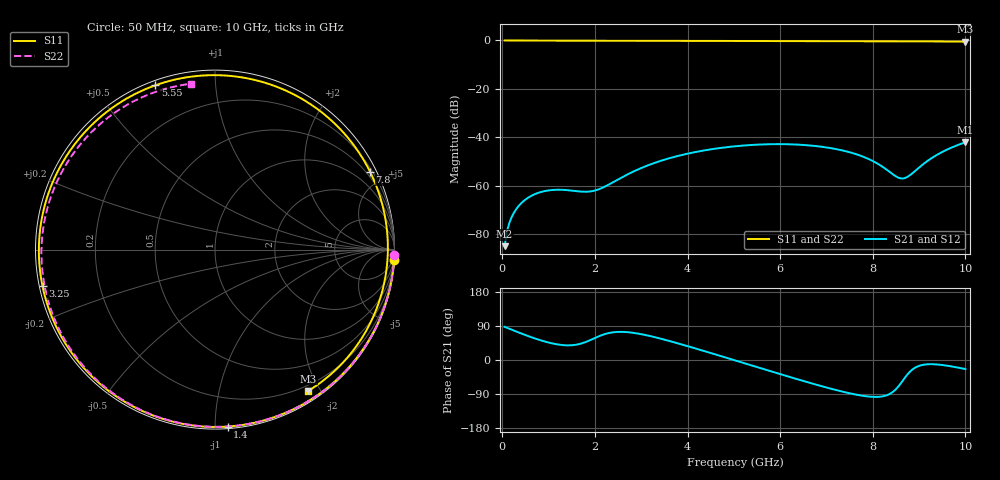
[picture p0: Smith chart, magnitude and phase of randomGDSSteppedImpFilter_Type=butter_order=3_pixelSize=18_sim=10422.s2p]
! freq	dB(S11)	phase(S11)	dB(S12)	phase(S12)
!  dB(S21)	phase(S21)	dB(S22)	phase(S22)
!S-par simulation data
#  GHz  S  DB  R 50
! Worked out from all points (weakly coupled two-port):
!   200 points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, 50 MHz to 10 GHz, reference 50 ohm
!   highest |S21| = -42.11 dB at 10 GHz (marker M1); lowest = -85.1 dB at 50 MHz (marker M2)
!   lowest |S11| = -0.5 dB at 10 GHz (marker M3), VSWR 34.18, Z = 6.5 - j92.6 ohm
!   |S11| at or under -10 dB: nowhere
!   |S22| runs from -0.6 to 0.0 dB; largest |S21 - S12| = 0
!   S11 on the Smith chart (normalised r, x): 50 MHz: 0, -34; 1.4 GHz: 0.01, -1.07; 3.25 GHz: 0.01, -0.11; 5.55 GHz: 0.02, +0.70; 7.8 GHz: 0.32, +4.20; 10 GHz: 0.13, -1.85
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0.05  -0.00 -3.3  -85.08 87.5  -85.08 87.5  -0.00 -1.7
0.1  -0.01 -6.7  -79.09 85.0  -79.09 85.0  -0.00 -3.4
0.2  -0.02 -13.3  -73.15 80.1  -73.15 80.1  -0.01 -6.8
0.3  -0.03 -19.8  -69.78 75.2  -69.78 75.2  -0.02 -10.2
0.55  -0.05 -35.9  -65.14 63.5  -65.14 63.5  -0.03 -18.6
0.95  -0.07 -60.5  -62.17 47.6  -62.17 47.6  -0.04 -31.9
1.4  -0.10 -85.9  -61.91 38.7  -61.91 38.7  -0.06 -46.5
1.75  -0.11 -104.0  -62.56 45.2  -62.56 45.2  -0.07 -57.5
2.05  -0.12 -118.3  -61.78 60.8  -61.78 60.8  -0.08 -66.6
2.5  -0.13 -138.2  -57.49 74.2  -57.49 74.2  -0.10 -79.8
3.25  -0.15 -168.0  -50.90 61.5  -50.90 61.5  -0.12 -100.6
3.4  -0.16 -173.6  -49.92 57.0  -49.92 57.0  -0.13 -104.6
4.2  -0.18 157.5  -46.04 29.4  -46.04 29.4  -0.16 -124.9
5.05  -0.21 127.7  -43.73 -1.9  -43.73 -1.9  -0.20 -145.2
5.55  -0.23 110.0  -43.06 -20.5  -43.06 -20.5  -0.23 -156.7
6.15  -0.25 88.4  -42.92 -42.7  -42.92 -42.7  -0.26 -170.2
6.7  -0.26 68.1  -43.54 -62.4  -43.54 -62.4  -0.30 177.5
7.8  -0.29 26.7  -48.14 -94.8  -48.14 -94.8  -0.39 152.5
8.35  -0.32 5.8  -54.15 -90.5  -54.15 -90.5  -0.43 139.6
8.7  -0.34 -7.5  -56.87 -45.6  -56.87 -45.6  -0.47 131.2
9.35  -0.40 -32.0  -47.72 -11.4  -47.72 -11.4  -0.53 115.1
10  -0.51 -56.6  -42.11 -24.0  -42.11 -24.0  -0.60 98.3
